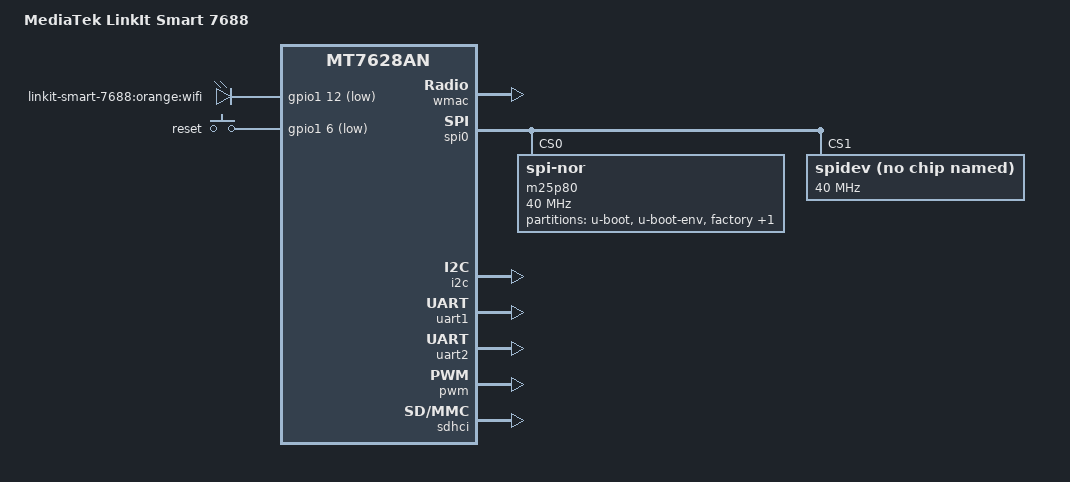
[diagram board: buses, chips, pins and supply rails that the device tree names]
/dts-v1/;

#include "mt7628an.dtsi"

#include <dt-bindings/gpio/gpio.h>
#include <dt-bindings/input/input.h>

/ {
	compatible = "mediatek,linkit-smart-7688", "mediatek,mt7628an-soc";
	model = "MediaTek LinkIt Smart 7688";

	aliases {
		led-boot = &led_wifi;
		led-failsafe = &led_wifi;
		led-running = &led_wifi;
		led-upgrade = &led_wifi;
	};

	chosen {
		bootargs = "console=ttyS2,57600";
	};

	aliases {
		serial0 = &uart2;
	};

	bootstrap {
		compatible = "mediatek,linkit";

		status = "okay";
	};

	leds {
		compatible = "gpio-leds";

		led_wifi: wifi {
			label = "linkit-smart-7688:orange:wifi";
			gpios = <&gpio1 12 GPIO_ACTIVE_LOW>;
		};
	};

	keys {
		compatible = "gpio-keys";

		wps {
			label = "reset";
			gpios = <&gpio1 6 GPIO_ACTIVE_LOW>;
			linux,code = <KEY_WPS_BUTTON>;
		};
	};
};

&pinctrl {
	state_default: pinctrl0 {
		gpio {
			ralink,group = "gpio";
			ralink,function = "gpio";
		};

		refclk {
			ralink,group = "refclk";
			ralink,function = "gpio";
		};

		i2s {
			ralink,group = "i2s";
			ralink,function = "gpio";
		};

		spis {
			ralink,group = "spis";
			ralink,function = "gpio";
		};

		wled_an {
			ralink,group = "wled_an";
			ralink,function = "gpio";
		};

		wdt {
			ralink,group = "wdt";
			ralink,function = "gpio";
		};
	};
};

&wmac {
	status = "okay";
};

&spi0 {
	status = "okay";

	pinctrl-names = "default";
	pinctrl-0 = <&spi_pins>, <&spi_cs1_pins>;

	m25p80@0 {
		compatible = "jedec,spi-nor";
		reg = <0>;
		spi-max-frequency = <40000000>;

		partitions {
			compatible = "fixed-partitions";
			#address-cells = <1>;
			#size-cells = <1>;

			partition@0 {
				label = "u-boot";
				reg = <0x0 0x30000>;
				read-only;
			};

			partition@30000 {
				label = "u-boot-env";
				reg = <0x30000 0x10000>;
			};

			factory: partition@40000 {
				label = "factory";
				reg = <0x40000 0x10000>;
				read-only;
			};

			partition@50000 {
				compatible = "denx,uimage";
				label = "firmware";
				reg = <0x50000 0x1fb0000>;
			};
		};
	};

	spidev@1 {
		#address-cells = <1>;
		#size-cells = <1>;
		compatible = "linux,spidev";
		reg = <1>;
		spi-max-frequency = <40000000>;
	};
};

&i2c {
	status = "okay";
};

&uart1 {
	status = "okay";
};

&uart2 {
	status = "okay";
};

&pwm {
	status = "okay";
};

&ethernet {
	mtd-mac-address = <&factory 0x28>;
};

&sdhci {
	status = "okay";
	mediatek,cd-high;
};

&wmac {
	status = "okay";
};
